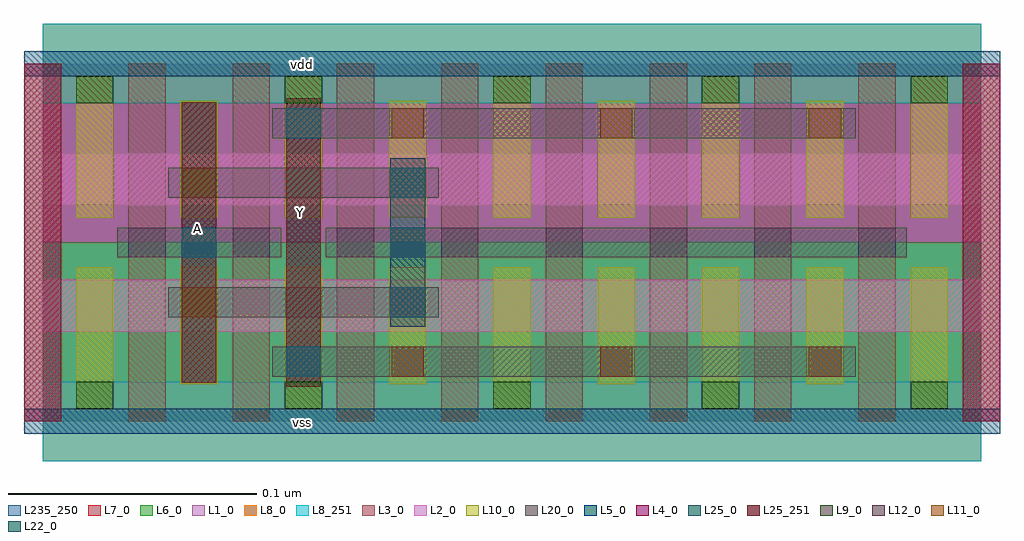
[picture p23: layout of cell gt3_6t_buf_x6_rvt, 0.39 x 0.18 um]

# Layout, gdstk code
import gdstk
lib = gdstk.Library(unit=1e-6, precision=5e-10)
def R(c, l, rs):  # rectangles x0, y0, x1, y1
    for r in rs: c.add(gdstk.rectangle(r[:2], r[2:], *l))
def A(c, l, x, y, w, h, nx, ny, dx, dy):  # array of equal rectangles
    R(c, l, [(x+i*dx, y+j*dy, x+i*dx+w, y+j*dy+h) for i in range(nx) for j in range(ny)])
L1_0 = (1, 0)
L2_0 = (2, 0)
L3_0 = (3, 0)
L4_0 = (4, 0)
L5_0 = (5, 0)
L6_0 = (6, 0)
L7_0 = (7, 0)
L8_0 = (8, 0)
L8_251 = (8, 251)
L9_0 = (9, 0)
L10_0 = (10, 0)
L11_0 = (11, 0)
L12_0 = (12, 0)
L20_0 = (20, 0)
L22_0 = (22, 0)
L25_0 = (25, 0)
L25_251 = (25, 251)
L235_250 = (235, 250)

gt3_6t_buf_x6_rvt = lib.new_cell('gt3_6t_buf_x6_rvt')
R(gt3_6t_buf_x6_rvt, L1_0, [(0,0.072,0.378,0.144)])
R(gt3_6t_buf_x6_rvt, L2_0, [(0,0.036,0.378,0.057), (0,0.087,0.378,0.108)])
A(gt3_6t_buf_x6_rvt, L3_0, -0.0075, 0, 0.015, 0.144, 9, 1, 0.042, 0)
R(gt3_6t_buf_x6_rvt, L3_0, [(0.3285,0,0.3435,0.144), (0.3705,0,0.3855,0.144)])
R(gt3_6t_buf_x6_rvt, L4_0, [(-0.0075,0,0.0075,0.144), (0.3705,0,0.3855,0.144)])
R(gt3_6t_buf_x6_rvt, L5_0, [(-0.0075,-0.005,0.3855,0.005), (-0.0075,0.139,0.3855,0.149)])
R(gt3_6t_buf_x6_rvt, L6_0, [(0,0,0.378,0.072)])
R(gt3_6t_buf_x6_rvt, L7_0, [(0,0.072,0.378,0.144)])
R(gt3_6t_buf_x6_rvt, L8_0, [(0,-0.016,0.378,0.016), (0,0.128,0.378,0.16)])
R(gt3_6t_buf_x6_rvt, L8_251, [(0,-0.016,0.378,0.016), (0,0.128,0.378,0.16)])
A(gt3_6t_buf_x6_rvt, L9_0, 0.0135, 0.005, 0.015, 0.011, 5, 2, 0.084, 0.123)
A(gt3_6t_buf_x6_rvt, L10_0, 0.0135, 0.005, 0.015, 0.057, 5, 2, 0.084, 0.077)
A(gt3_6t_buf_x6_rvt, L10_0, 0.0555, 0.015, 0.015, 0.047, 4, 2, 0.084, 0.067)
A(gt3_6t_buf_x6_rvt, L11_0, 0.1405, 0.018, 0.013, 0.012, 3, 2, 0.084, 0.096)
R(gt3_6t_buf_x6_rvt, L11_0, [(0.0565,0.042,0.0695,0.054), (0.0565,0.09,0.0695,0.102)])
A(gt3_6t_buf_x6_rvt, L12_0, 0.0345, 0.066, 0.015, 0.012, 8, 1, 0.042, 0)
R(gt3_6t_buf_x6_rvt, L20_0, [(0.0925,0.018,0.3275,0.03), (0.0505,0.042,0.1595,0.054), (0.03,0.066,0.096,0.078), (0.114,0.066,0.348,0.078), (0.0505,0.09,0.1595,0.102), (0.0925,0.114,0.3275,0.126)])
A(gt3_6t_buf_x6_rvt, L22_0, 0.14, 0.042, 0.014, 0.012, 1, 3, 0, 0.024)
R(gt3_6t_buf_x6_rvt, L22_0, [(0.098,0.018,0.112,0.03), (0.056,0.066,0.07,0.078), (0.098,0.114,0.112,0.126)])
R(gt3_6t_buf_x6_rvt, L25_0, [(0.098,0.014,0.112,0.13), (0.056,0.0155,0.07,0.1285), (0.14,0.038,0.154,0.106)])
R(gt3_6t_buf_x6_rvt, L25_251, [(0.098,0.014,0.112,0.13), (0.056,0.0155,0.07,0.1285)])
R(gt3_6t_buf_x6_rvt, L235_250, [(0,0,0.378,0.144)])
gt3_6t_buf_x6_rvt.add(gdstk.Label('vss', (0.1045,-0.0005), layer=8, texttype=251))
gt3_6t_buf_x6_rvt.add(gdstk.Label('vdd', (0.1045,0.1435), layer=8, texttype=251))
gt3_6t_buf_x6_rvt.add(gdstk.Label('A', (0.0625,0.0775), layer=25, texttype=251))
gt3_6t_buf_x6_rvt.add(gdstk.Label('Y', (0.104,0.084), layer=25, texttype=251))

lib.write_gds('gt3_6t_buf_x6_rvt.gds')
